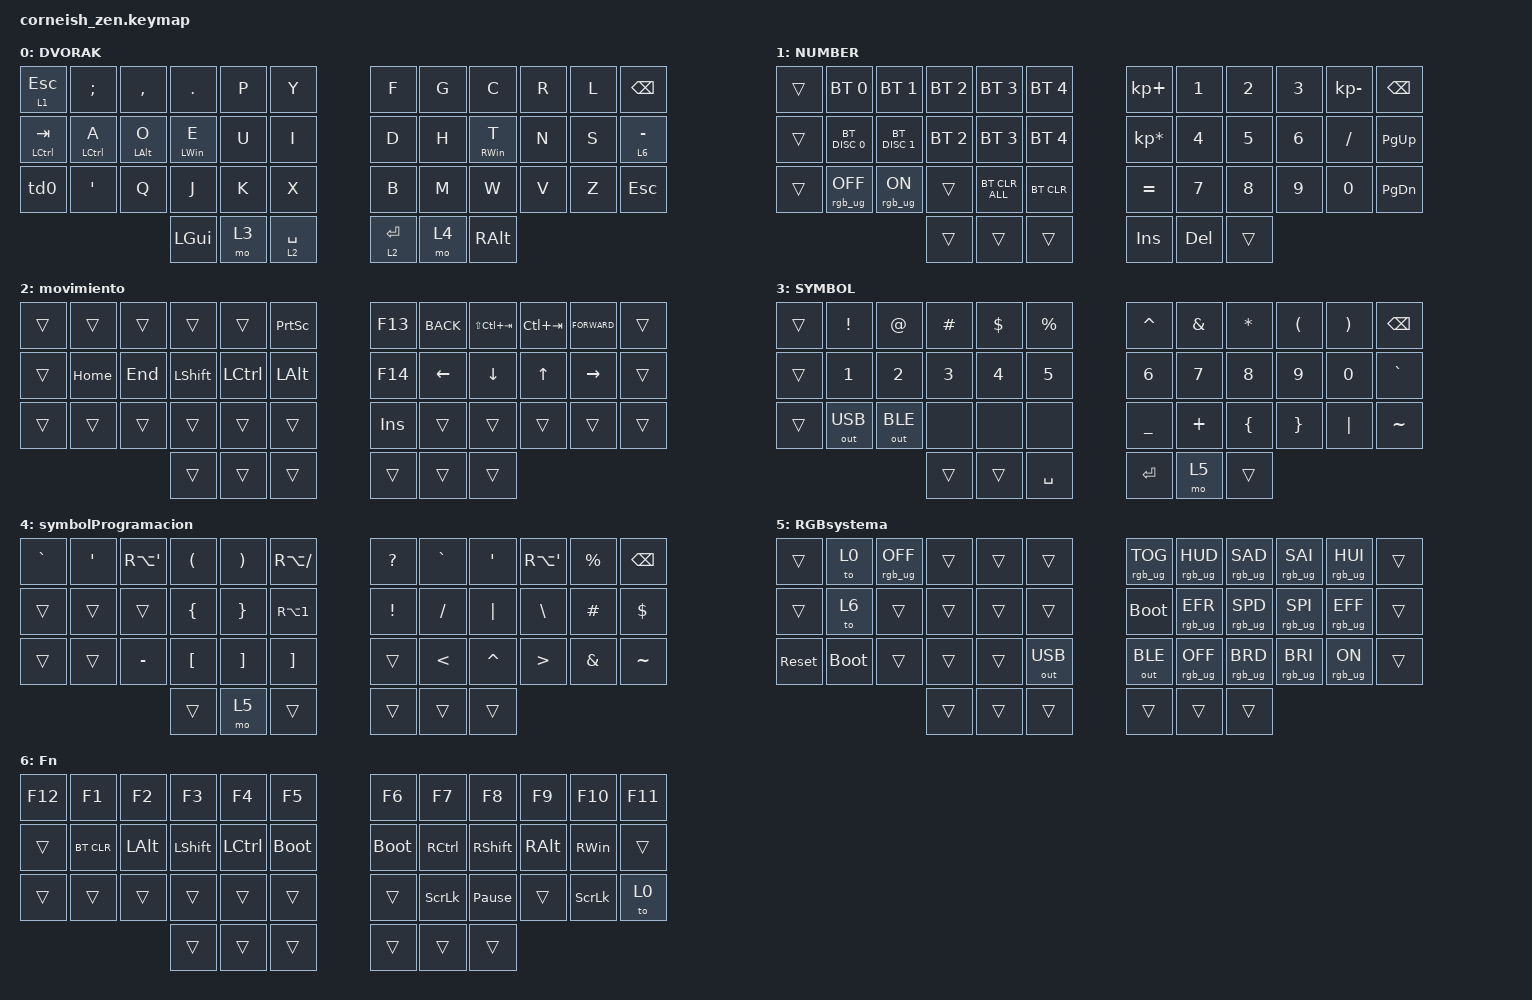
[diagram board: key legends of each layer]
/*
 * Copyright (c) 2020 The ZMK Contributors
 *
 * SPDX-License-Identifier: MIT
 */

#include <behaviors.dtsi>
#include <dt-bindings/zmk/bt.h>
#include <dt-bindings/zmk/keys.h>
#include <dt-bindings/zmk/outputs.h>
#include <dt-bindings/zmk/rgb.h>

/ {
    chosen {
        zmk,matrix_transform = &default_transform;

        // zmk,matrix_transform = &five_column_transform;
    };
};

/ {
    behaviors {
        td0: td0 {
            compatible = "zmk,behavior-tap-dance";
            label = "TD0";
            #binding-cells = <0>;
            bindings = <&kp LEFT_SHIFT>, <&kp CAPS>;
        };

        HMR: HMR {
            compatible = "zmk,behavior-hold-tap";
            label = "HMR";
            bindings = <&kp>, <&kp>;

            #binding-cells = <2>;
            tapping-term-ms = <280>;
            quick-tap-ms = <175>;
            flavor = "tap-preferred";
            hold-trigger-on-release;
            hold-trigger-key-positions = <0 1 2 4 3 12 13 14 15 16 17 24 25 26 27 28 29 36 37 38 39 40 41>;
        };

        HML: HML {
            compatible = "zmk,behavior-hold-tap";
            label = "HML";
            bindings = <&kp>, <&kp>;

            #binding-cells = <2>;
            tapping-term-ms = <280>;
            quick-tap-ms = <175>;
            hold-trigger-on-release;
            hold-trigger-key-positions = <6 7 8 9 10 11 18 19 20 21 22 23 30 31 32 33 34 35 39 40 41 36 37 38>;
            flavor = "tap-preferred";
        };

        tab_escape: tab_escape {
            compatible = "zmk,behavior-hold-tap";
            label = "TAB_ESCAPE";
            bindings = <&kp>, <&kp>;

            #binding-cells = <2>;
            tapping-term-ms = <280>;
            quick-tap-ms = <175>;
            hold-trigger-key-positions = <1 2 3 4 5 6 7 8 9 10 11 13 14 15 16 17 18 19 20 21 22 23 25 26 27 28 29 30 31 32 33 34 35 36 37 38 39 40 41>;
            flavor = "tap-preferred";
            hold-trigger-on-release;
        };
    };

    keymap {
        compatible = "zmk,keymap";

        default_layer {
            display-name = "DVORAK";

            // --------------------------------------------------------------------------------
            // |  TAB |  Q  |  W  |  E  |  R  |  T  |   |  Y  |  U   |  I  |  O  |  P  | BKSP |
            // | CTRL |  A  |  S  |  D  |  F  |  G  |   |  H  |  J   |  K  |  L  |  ;  |  '   | 
            // | SHFT |  Z  |  X  |  C  |  V  |  B  |   |  N  |  M   |  ,  |  .  |  /  | ESC  |
            //                    | GUI | LWR | SPC |   | ENT | RSE  | ALT |

            bindings = <
&lt 1 ESCAPE                  &kp SEMICOLON  &kp COMMA        &kp PERIOD       &kp P  &kp Y          &kp F        &kp G  &kp C             &kp R  &kp L  &kp BSPC
&tab_escape LEFT_CONTROL TAB  &HML LCTRL A   &HML LEFT_ALT O  &HML LEFT_WIN E  &kp U  &kp I          &kp D        &kp H  &HMR RIGHT_WIN T  &kp N  &kp S  &lt 6 MINUS
&td0                          &kp SQT        &kp Q            &kp J            &kp K  &kp X          &kp B        &kp M  &kp W             &kp V  &kp Z  &kp ESC
                                                              &kp LGUI         &mo 3  &lt 2 SPACE    &lt 2 ENTER  &mo 4  &kp RALT
            >;
        };

        lower_layer {
            display-name = "NUMBER";

            // -----------------------------------------------------------------------------------------
            // |  TAB |  1  |  2  |  3  |  4  |  5  |   |  6  |  7  |  8  |  9  |  0  | BKSP |
            // | BTCLR| BT1 | BT2 | BT3 | BT4 | BT5 |   | LFT | DWN |  UP | RGT |     |      |
            // | SHFT |     |     |     |     |     |   |     |     |     |     |     |      |
            //                    | GUI |     | SPC |   | ENT |     | ALT |

            bindings = <
&trans  &bt BT_SEL 0     &bt BT_SEL 1    &bt BT_SEL 2  &bt BT_SEL 3    &bt BT_SEL 4    &kp KP_PLUS      &kp NUMBER_1  &kp NUMBER_2  &kp NUMBER_3  &kp KP_MINUS  &kp BSPC
&trans  &bt BT_DISC 0    &bt BT_DISC 1   &bt BT_SEL 2  &bt BT_SEL 3    &bt BT_SEL 4    &kp KP_ASTERISK  &kp NUMBER_4  &kp N5        &kp NUMBER_6  &kp SLASH     &kp PG_UP
&trans  &rgb_ug RGB_OFF  &rgb_ug RGB_ON  &trans        &bt BT_CLR_ALL  &bt BT_CLR      &kp EQUAL        &kp N7        &kp NUMBER_8  &kp N9        &kp NUMBER_0  &kp PG_DN
                                         &trans        &trans          &trans          &kp INS          &kp DEL       &trans
            >;
        };

        movimiento {
            bindings = <
&trans  &trans    &trans   &trans          &trans     &kp PRINTSCREEN    &kp F13  &kp K_BACK  &kp LS(LC(TAB))  &kp LC(TAB)   &kp K_FORWARD  &trans
&trans  &kp HOME  &kp END  &kp LEFT_SHIFT  &kp LCTRL  &kp LEFT_ALT       &kp F14  &kp LEFT    &kp DOWN_ARROW   &kp UP_ARROW  &kp RIGHT      &trans
&trans  &trans    &trans   &trans          &trans     &trans             &kp INS  &trans      &trans           &trans        &trans         &trans
                           &trans          &trans     &trans             &trans   &trans      &trans
            >;
        };

        numeros_Simbolos {
            display-name = "SYMBOL";

            // -----------------------------------------------------------------------------------------
            // |  TAB |  !  |  @  |  #  |  $  |  %  |   |  ^  |  &  |  *  |  (  |  )  | BKSP |
            // | CTRL |     |     |     |     |     |   |  -  |  =  |  [  |  ]  |  \  |  `   |
            // | SHFT |     |     |     |     |     |   |  _  |  +  |  {  |  }  | "|" |  ~   |
            //                    | GUI |     | SPC |   | ENT |     | ALT |

            bindings = <
&trans  &kp EXCL      &kp AT        &kp HASH      &kp DLLR      &kp PRCNT    &kp CARET     &kp AMPS  &kp ASTRK  &kp LPAR  &kp RPAR  &kp BSPC
&trans  &kp NUMBER_1  &kp NUMBER_2  &kp NUMBER_3  &kp NUMBER_4  &kp N5       &kp NUMBER_6  &kp N7    &kp N8     &kp N9    &kp N0    &kp GRAVE
&trans  &out OUT_USB  &out OUT_BLE  &none         &none         &none        &kp UNDER     &kp PLUS  &kp LBRC   &kp RBRC  &kp PIPE  &kp TILDE
                                    &trans        &trans        &kp SPACE    &kp RET       &mo 5     &trans
            >;
        };

        symbolProgramacion {
            bindings = <
&kp GRAVE  &kp SINGLE_QUOTE  &kp RA(SINGLE_QUOTE)  &kp LPAR          &kp RPAR           &kp RA(SLASH)        &kp QUESTION  &kp GRAVE  &kp SINGLE_QUOTE  &kp RA(SINGLE_QUOTE)  &kp PERCENT  &kp BACKSPACE
&trans     &trans            &trans                &kp LBRC          &kp RBRC           &kp RA(NUMBER_1)     &kp EXCL      &kp SLASH  &kp PIPE          &kp BSLH              &kp HASH     &kp DOLLAR
&trans     &trans            &kp MINUS             &kp LEFT_BRACKET  &kp RIGHT_BRACKET  &kp RIGHT_BRACKET    &trans        &kp LT     &kp CARET         &kp GT                &kp AMPS     &kp TILDE
                                                   &trans            &mo 5              &trans               &trans        &trans     &trans
            >;
        };

        RGBsystema {
            bindings = <
&trans      &to 0        &rgb_ug RGB_OFF  &trans  &trans  &trans          &rgb_ug RGB_TOG  &rgb_ug RGB_HUD  &rgb_ug RGB_SAD  &rgb_ug RGB_SAI  &rgb_ug RGB_HUI  &trans
&trans      &to 6        &trans           &trans  &trans  &trans          &bootloader      &rgb_ug RGB_EFR  &rgb_ug RGB_SPD  &rgb_ug RGB_SPI  &rgb_ug RGB_EFF  &trans
&sys_reset  &bootloader  &trans           &trans  &trans  &out OUT_USB    &out OUT_BLE     &rgb_ug RGB_OFF  &rgb_ug RGB_BRD  &rgb_ug RGB_BRI  &rgb_ug RGB_ON   &trans
                                          &trans  &trans  &trans          &trans           &trans           &trans
            >;
        };

        Funcion_Fn {
            display-name = "Fn";
            bindings = <
&kp F12  &kp F1      &kp F2        &kp F3          &kp F4            &kp F5         &kp F6       &kp F7             &kp F8           &kp F9         &kp F10         &kp F11
&trans   &bt BT_CLR  &kp LEFT_ALT  &kp LEFT_SHIFT  &kp LEFT_CONTROL  &bootloader    &bootloader  &kp RIGHT_CONTROL  &kp RIGHT_SHIFT  &kp RIGHT_ALT  &kp RIGHT_WIN   &trans
&trans   &trans      &trans        &trans          &trans            &trans         &trans       &kp SCROLLLOCK     &kp PAUSE_BREAK  &trans         &kp SCROLLLOCK  &to 0
                                   &trans          &trans            &trans         &trans       &trans             &trans
            >;
        };
    };
};
